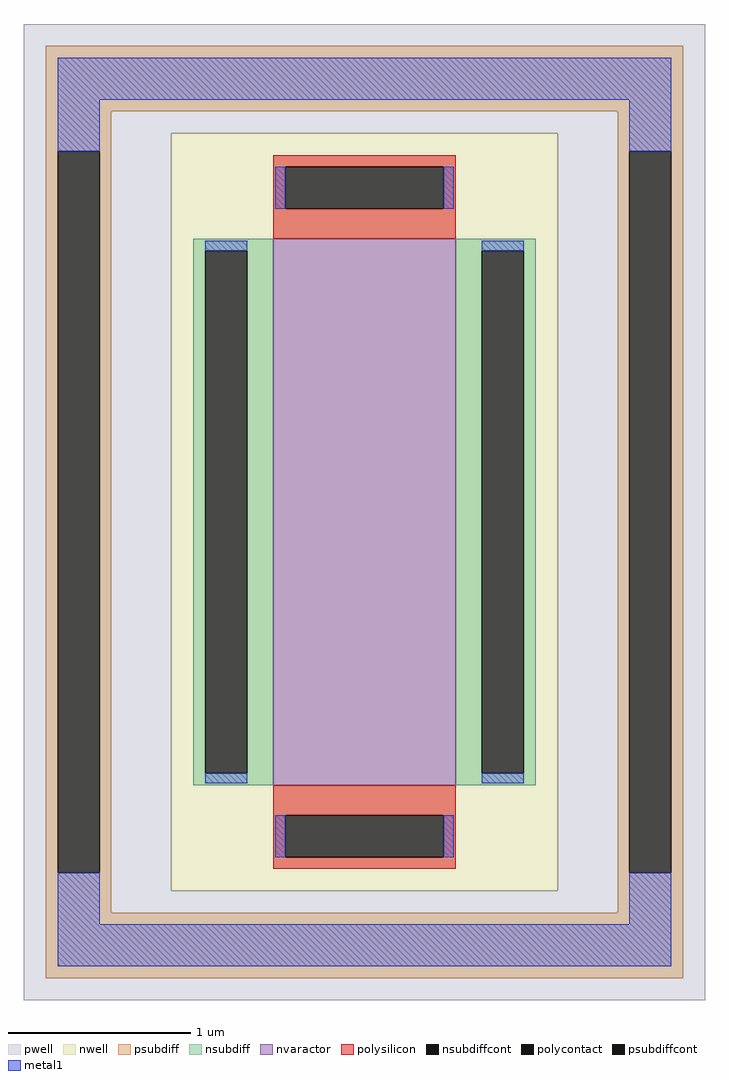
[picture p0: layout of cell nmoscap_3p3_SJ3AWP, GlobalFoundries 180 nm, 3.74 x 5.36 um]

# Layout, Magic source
magic
tech gf180mcuD
magscale 1 10
<< nwell >>
rect -212 -416 212 416
<< pwell >>
rect -374 416 374 536
rect -374 -416 -212 416
rect 212 -416 374 416
rect -374 -536 374 -416
<< psubdiff >>
rect -350 440 350 512
rect -350 396 -278 440
rect -350 -396 -337 396
rect -291 -396 -278 396
rect 278 396 350 440
rect -350 -440 -278 -396
rect 278 -396 291 396
rect 337 -396 350 396
rect 278 -440 350 -396
rect -350 -512 350 -440
<< nsubdiff >>
rect -188 287 -100 300
rect -188 -287 -175 287
rect -129 -287 -100 287
rect -188 -300 -100 -287
rect 100 287 188 300
rect 100 -287 129 287
rect 175 -287 188 287
rect 100 -300 188 -287
<< psubdiffcont >>
rect -337 -396 -291 396
rect 291 -396 337 396
<< nsubdiffcont >>
rect -175 -287 -129 287
rect 129 -287 175 287
<< nvaractor >>
rect -100 -300 100 300
<< polysilicon >>
rect -100 379 100 392
rect -100 333 -87 379
rect 87 333 100 379
rect -100 300 100 333
rect -100 -333 100 -300
rect -100 -379 -87 -333
rect 87 -379 100 -333
rect -100 -392 100 -379
<< polycontact >>
rect -87 333 87 379
rect -87 -379 87 -333
<< metal1 >>
rect -337 453 337 499
rect -337 396 -291 453
rect 291 396 337 453
rect -98 333 -87 379
rect 87 333 98 379
rect -175 287 -129 298
rect -175 -298 -129 -287
rect 129 287 175 298
rect 129 -298 175 -287
rect -98 -379 -87 -333
rect 87 -379 98 -333
rect -337 -453 -291 -396
rect 291 -453 337 -396
rect -337 -499 337 -453
<< properties >>
string FIXED_BBOX -314 -476 314 476
string gencell nmoscap_3p3
string library gf180mcu
string parameters w 3.0 l 1.0 m 1 nf 1 diffcov 100 polycov 100 guard 1 glc 1 grc 1 gtc 0 gbc 0 tbcov 100 rlcov 100 topc 1 botc 1 poverlap 0 doverlap 1 lmin 0.28 wmin 0.22 class mosfet full_metal 1 compatible {nmoscap_3p3 nmoscap_6p0}
<< end >>
